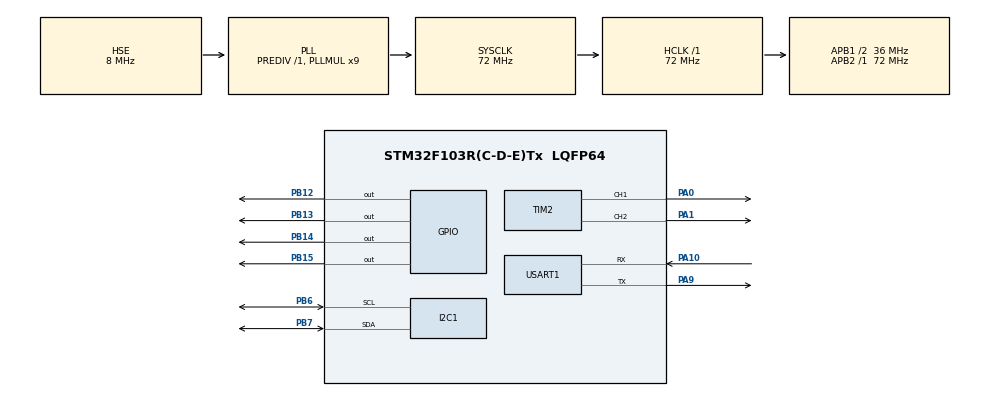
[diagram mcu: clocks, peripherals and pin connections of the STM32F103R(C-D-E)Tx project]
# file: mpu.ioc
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Mcu.Family=STM32F1
Mcu.Name=STM32F103R(C-D-E)Tx
Mcu.Package=LQFP64
NVIC.PriorityGroup=NVIC_PRIORITYGROUP_4
PA0-WKUP.Signal=S_TIM2_CH1_ETR
PA1.Signal=S_TIM2_CH2
PA10.Mode=Asynchronous
PA10.Signal=USART1_RX
PA13.Mode=Serial_Wire
PA13.Signal=SYS_JTMS-SWDIO
PA14.Mode=Serial_Wire
PA14.Signal=SYS_JTCK-SWCLK
PA9.Mode=Asynchronous
PA9.Signal=USART1_TX
PB12.Signal=GPIO_Output
PB13.Signal=GPIO_Output
PB14.Signal=GPIO_Output
PB15.Signal=GPIO_Output
PB6.Mode=I2C
PB6.Signal=I2C1_SCL
PB7.Mode=I2C
PB7.Signal=I2C1_SDA
PD0-OSC_IN.Mode=HSE-External-Oscillator
PD0-OSC_IN.Signal=RCC_OSC_IN
PD1-OSC_OUT.Mode=HSE-External-Oscillator
PD1-OSC_OUT.Signal=RCC_OSC_OUT
ProjectManager.HeapSize=0x200
ProjectManager.StackSize=0x400
ProjectManager.TargetToolchain=STM32CubeIDE
RCC.ADCPresc=RCC_ADCPCLK2_DIV6
RCC.AHBFreq_Value=72000000
RCC.APB1CLKDivider=RCC_HCLK_DIV2
RCC.APB1Freq_Value=36000000
RCC.APB1TimFreq_Value=72000000
RCC.APB2Freq_Value=72000000
RCC.APB2TimFreq_Value=72000000
RCC.HCLKFreq_Value=72000000
RCC.PLLMUL=RCC_PLL_MUL9
RCC.PLLSourceVirtual=RCC_PLLSOURCE_HSE
RCC.SYSCLKFreq_VALUE=72000000
RCC.SYSCLKSource=RCC_SYSCLKSOURCE_PLLCLK
RCC.USBFreq_Value=72000000
SH.S_TIM2_CH1_ETR.0=TIM2_CH1,PWM Generation1 CH1
SH.S_TIM2_CH2.0=TIM2_CH2,PWM Generation2 CH2
TIM2.Channel-PWM\ Generation1\ CH1=TIM_CHANNEL_1
TIM2.Channel-PWM\ Generation2\ CH2=TIM_CHANNEL_2
USART1.VirtualMode=VM_ASYNC
board=custom

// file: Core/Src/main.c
/* USER CODE BEGIN Header */
/**
  ******************************************************************************
  * @file           : main.c
  * @brief          : Main program body
  ******************************************************************************
  * @attention
  *
  * Copyright (c) 2025 STMicroelectronics.
  * All rights reserved.
  *
  * This software is licensed under terms that can be found in the LICENSE file
  * in the root directory of this software component.
  * If no LICENSE file comes with this software, it is provided AS-IS.
  *
  ******************************************************************************
  */
/* USER CODE END Header */
#include "main.h"

I2C_HandleTypeDef hi2c1;

TIM_HandleTypeDef htim2;

UART_HandleTypeDef huart1;

/* USER CODE BEGIN PV */

//TẠO BIẾN ĐỂ LƯU GIÁ TRỊ THÔ 16 BIT
int16_t Accel_X_RAW, Accel_Y_RAW,Accel_Z_RAW;
int16_t Gyro_X_RAW, Gyro_Y_RAW,Gyro_Z_RAW;

//tạo biến lưu cứng giá trị sai số
float Accel_X_Offset = 0.0;
float Accel_Y_Offset = 0.0;
     //float Accel_Z_Offset = 0.0;
float Gyro_X_Offset = 0.0;
float Gyro_Y_Offset = 0.0;
float Gyro_Z_Offset = 0.0;

//tạo biến cho bộ lọc bù
float Accel_Pitch_Angle;
float Gyro_Pitch_Angle;
float Pitch_Angle = 0.0;

//biến thời gian
uint32_t last_time =0;
float dt = 0.0; // khoảng thời gian giữa 2 lần tính toán

// Hằng số bộ lọc
const float alpha = 0.98; // tin 98% vào GYRO
const float rad_to_deg = 180 / 3.14159265; // biến đổi rad sang độ

//biến cho PID
float kp = 110.0;
float ki = 0;
float kd = 12;

float Error, Last_Error = 0.0;
float P_Term, I_Term = 0.0 , D_Term;
float PID_speed;
float Setpoint = 0.00;
const float DEAD_ZONE_ANGLE = 45.0;
/* USER CODE END PV */

void SystemClock_Config(void);
static void MX_GPIO_Init(void);
static void MX_I2C1_Init(void);
static void MX_USART1_UART_Init(void);
static void MX_TIM2_Init(void);

/* USER CODE BEGIN 0 */
#include "stdio.h"
#include "math.h"
#include "stdlib.h"
#define MPU6050_ADDR (0x68 << 1) // 0xD0

// Địa chỉ các thanh ghi

#define WHO_AM_I_REG 0x75
#define PWR_MGMT_1_REG 0x6B
#define SMPLRT_DIV_REG 0x19
#define CONFIG_REG 0x1A
#define GYRO_CONFIG_REG 0x1B
#define ACCEL_CONFIG_REG 0x1C
#define ACCEL_XOUT_H_REG 0x3B

// hàm in dữ liệu qua UART
int _write(int file, char *ptr, int len)
{
	HAL_UART_Transmit(&huart1, (uint8_t*)ptr,len, HAL_MAX_DELAY);
	return len;
}

void MPU6050_Init(void)
{
    uint8_t check;
    uint8_t data;

    // 1. Kiểm tra kết nối
    if (HAL_I2C_Mem_Read(&hi2c1, MPU6050_ADDR, WHO_AM_I_REG, 1, &check, 1, 1000) == HAL_OK)
    {
    		printf("chip ID = 0x%X\r\n",check);
    }else{
    	printf("I2C ERROR!\r\n");

    }

    // 2. Đánh thức và chọn Clock Gyro (RẤT QUAN TRỌNG)
    data = 0x01; // 0b00000001 -> CLKSEL = 1 (PLL với Gyro X)
    HAL_I2C_Mem_Write(&hi2c1, MPU6050_ADDR, PWR_MGMT_1_REG, 1, &data, 1, 1000);

    // 3. Cấu hình Sample Rate (Tốc độ lấy mẫu)
    // Sample Rate = Gyro Output Rate / (1 + SMPLRT_DIV)
    // 1kHz / (1 + 7) = 125Hz
    data = 0x07;
    HAL_I2C_Mem_Write(&hi2c1, MPU6050_ADDR, SMPLRT_DIV_REG, 1, &data, 1, 1000);

    // 4. Cấu hình Bộ lọc thông thấp (DLPF)
    // Đặt DLPF_CFG = 3 -> Accel ~44Hz, Gyro ~42Hz. Giúp lọc nhiễu.
    data = 0x03;
    HAL_I2C_Mem_Write(&hi2c1, MPU6050_ADDR, CONFIG_REG, 1, &data, 1, 1000);

    // 5. Cấu hình dải đo Gyro (+/- 250 dps)
    data = 0x00;
    HAL_I2C_Mem_Write(&hi2c1, MPU6050_ADDR, GYRO_CONFIG_REG, 1, &data, 1, 1000);

    // 6. Cấu hình dải đo Accel (+/- 2g)
    data = 0x00;
    HAL_I2C_Mem_Write(&hi2c1, MPU6050_ADDR, ACCEL_CONFIG_REG, 1, &data, 1, 1000);

    printf("MPU6050 Configured!\r\n");
}

void MPU6050_Read_Data_Raw(void){

	uint8_t Rec_Data[14];
	// Đọc 14 byte
	HAL_I2C_Mem_Read(&hi2c1, MPU6050_ADDR,0x3B, 1,Rec_Data,14,1000);

	// ráp 2 gói tin 8 bit thành 16 bit
	    Accel_X_RAW = (int16_t)(Rec_Data[0] << 8 | Rec_Data[1]);
	    Accel_Y_RAW = (int16_t)(Rec_Data[2] << 8 | Rec_Data[3]);
	    Accel_Z_RAW = (int16_t)(Rec_Data[4] << 8 | Rec_Data[5]);
	    // Bỏ qua 2 byte nhiệt độ (Rec_Data[6] và Rec_Data[7])
	    Gyro_X_RAW  = (int16_t)(Rec_Data[8]  << 8 | Rec_Data[9]);
	    Gyro_Y_RAW  = (int16_t)(Rec_Data[10] << 8 | Rec_Data[11]);
	    Gyro_Z_RAW  = (int16_t)(Rec_Data[12] << 8 | Rec_Data[13]);

	//hiệu chỉnh trừ sai số

}

void MPU6050_Calibrate(void){

	printf("bắt đầu calibrate, vui lòng giữ yên!\r\n");
	HAL_Delay(100);
	// Khỏ tạo biến chứa dữ liệu tính tổng
	int32_t Accel_X_Sum = 0;
	int32_t Accel_Y_Sum = 0;

	int32_t Gyro_X_Sum = 0;
	int32_t Gyro_Y_Sum = 0;
	int32_t Gyro_Z_Sum = 0;

	int num_samples = 1000;

	for(int i = 0; i < num_samples; i++){

		//đọc hàm Read_Data_Raw
		MPU6050_Read_Data_Raw();

		Accel_X_Sum += Accel_X_RAW;
		Accel_Y_Sum += Accel_Y_RAW;

		Gyro_X_Sum += Gyro_X_RAW;
		Gyro_Y_Sum += Gyro_Y_RAW;
		Gyro_Z_Sum += Gyro_Z_RAW;

		HAL_Delay(3); //chờ 3ms giữa các lần đọc tổng 3s

	}

	// tính trung bình ra tỉ lệ sai số offset và lưu vào biến toàn cục FLOAT
	Accel_X_Offset = (float) Accel_X_Sum / (float) num_samples;
	Accel_Y_Offset = (float) Accel_Y_Sum / (float) num_samples;

	Gyro_X_Offset = (float) Gyro_X_Sum /(float) num_samples;
	Gyro_Y_Offset = (float) Gyro_Y_Sum /(float) num_samples;
	Gyro_Z_Offset = (float) Gyro_Z_Sum /(float) num_samples;

	printf("đã hiệu chỉnh xong\r\n");
}

void MPU6050_Read_Data(void){

	MPU6050_Read_Data_Raw();
	        //hiệu chỉnh trừ sai số
	        Accel_X_RAW =Accel_X_RAW - Accel_X_Offset;
		    Accel_Y_RAW =Accel_Y_RAW - Accel_Y_Offset;
		    //Accel_Z_RAW =Accel_X_RAW - Accel_X_Offset;  KO CẦN DO DẪ SÁT THÔNG SỐ YÊU CÂU 1g
		    Gyro_X_RAW = Gyro_X_RAW - Gyro_X_Offset;
		    Gyro_Y_RAW = Gyro_Y_RAW - Gyro_Y_Offset;
		    Gyro_Z_RAW = Gyro_Z_RAW - Gyro_Z_Offset;
	}

void Motor_control(int speed_A, int speed_B){
	// Động cơ A
	if( speed_A > 0){
		HAL_GPIO_WritePin(GPIOB, GPIO_PIN_12, GPIO_PIN_SET);
		HAL_GPIO_WritePin(GPIOB, GPIO_PIN_13, GPIO_PIN_RESET);
	}else if(speed_A < 0 ){
		HAL_GPIO_WritePin(GPIOB, GPIO_PIN_12, GPIO_PIN_RESET);
		HAL_GPIO_WritePin(GPIOB, GPIO_PIN_13, GPIO_PIN_SET);
	}else{
		HAL_GPIO_WritePin(GPIOB, GPIO_PIN_12, GPIO_PIN_RESET);
	    HAL_GPIO_WritePin(GPIOB, GPIO_PIN_13, GPIO_PIN_RESET);
	}

	// Dùng hàm macro vì cần set compare nhanh nhất có thể
	__HAL_TIM_SET_COMPARE(&htim2, TIM_CHANNEL_1, abs(speed_A));

	// Động cơ B
	if( speed_B > 0){
			HAL_GPIO_WritePin(GPIOB, GPIO_PIN_14, GPIO_PIN_RESET);
			HAL_GPIO_WritePin(GPIOB, GPIO_PIN_15, GPIO_PIN_SET);
		}else if(speed_B < 0 ){
			HAL_GPIO_WritePin(GPIOB, GPIO_PIN_14, GPIO_PIN_SET);
			HAL_GPIO_WritePin(GPIOB, GPIO_PIN_15, GPIO_PIN_RESET);
		}else{
			HAL_GPIO_WritePin(GPIOB, GPIO_PIN_14, GPIO_PIN_RESET);
		    HAL_GPIO_WritePin(GPIOB, GPIO_PIN_15, GPIO_PIN_RESET);
		}

		__HAL_TIM_SET_COMPARE(&htim2, TIM_CHANNEL_2, abs(speed_B));

}

/* USER CODE END 0 */

int main(void)
{

  /* MCU Configuration--------------------------------------------------------*/

  /* Reset of all peripherals, Initializes the Flash interface and the Systick. */
  HAL_Init();

  /* Configure the system clock */
  SystemClock_Config();

  /* Initialize all configured peripherals */
  MX_GPIO_Init();
  MX_I2C1_Init();
  MX_USART1_UART_Init();
  MX_TIM2_Init();
  /* USER CODE BEGIN 2 */

  // BẬT KÊNH PWM 1 VÀ 2 TRÊN L298N
  HAL_TIM_PWM_Start(&htim2, TIM_CHANNEL_1);
  HAL_TIM_PWM_Start(&htim2, TIM_CHANNEL_2);

  MPU6050_Init();
  MPU6050_Calibrate();
  last_time = HAL_GetTick(); // khởi tạo mốc thời gian

  /* USER CODE END 2 */

  /* Infinite loop */
  while (1)
  {

    /* USER CODE BEGIN 3 */

    MPU6050_Read_Data();
    //printf("Gyro Z (RAW) = %d\r\n",Gyro_Z_RAW);
    //printf("Gyro X (RAW) = %d\r\n",Gyro_X_RAW);
    //printf("Gyro Y (RAW) = %d\r\n",Gyro_Y_RAW);
    //printf("Accel Z (RAW) = %d\r\n",Accel_Z_RAW);
    //printf("Accel X (RAW) = %d\r\n",Accel_X_RAW);
    //printf("Accel Y (RAW) = %d\r\n",Accel_Y_RAW);

    // ----tính khoảng thời gian dt---
    uint32_t curent_time = HAL_GetTick();
    dt = (float) ( curent_time - last_time) / 1000.0;
    last_time = curent_time;
    if (dt < 0.005) dt = 0.005;

    //tính góc Accel
    Accel_Pitch_Angle = atan2(Accel_X_RAW,Accel_Z_RAW) * rad_to_deg;

    //tính góc Gyro
    float Gyro_Y_Rate = Gyro_Y_RAW / 131.0;
    Gyro_Pitch_Angle = Pitch_Angle + (Gyro_Y_Rate * dt);

    //tính BỘ LỌC BÙ
    Pitch_Angle =  alpha * Gyro_Pitch_Angle + (1.0 - alpha)* Accel_Pitch_Angle;

    // VÙNG CHẾT - Robot không tự cứu khi nghiêng quá 45°
    if (fabs(Pitch_Angle) > DEAD_ZONE_ANGLE) {
        Motor_control(0, 0);
        I_Term = 0;  // Reset tích phân
        Last_Error = 0;
        printf("Angle: %.2f\r\n", Pitch_Angle);
        HAL_Delay(10);
        continue;
    }

    // tính toán P i D
   Error = Pitch_Angle - Setpoint;

   P_Term = kp * Error;

   I_Term = I_Term +(ki* Error * dt);

   D_Term = kd * (Error - Last_Error) /dt;

   PID_speed = P_Term + I_Term + D_Term;

   Last_Error = Error;

   // BÙ MA SÁT THÔNG MINH (Chỉ kích hoạt nếu lệnh đủ lớn)
       float min_speed = 660.0;
       float dead_band_filter = 10.0; // <-- Đặt ngưỡng an toàn (ví dụ: 20)

       if (fabs(PID_speed) < dead_band_filter) // Nếu PID quá nhỏ (nhỏ hơn 20)
       {
           PID_speed = 0; // COI NHƯ LỖI NHIỄU, TẮT motor
       }
       else
       {
           // Nếu PID đủ lớn để chống lại nhiễu, thì mới Bù Ma Sát
           if (PID_speed > 0) PID_speed += min_speed;
           else if (PID_speed < 0) PID_speed -= min_speed;
       }

        // Sau khi bù ma sát, thêm:
        if (PID_speed > 999) PID_speed = 999;
        if (PID_speed < -999) PID_speed = -999;

        // SET cứng I_TERM chống tràn
        if (I_Term > 1000) I_Term = 1000;
        if (I_Term < -1000) I_Term = -1000;

        // SET cứng I_TERM chống tràn
        if (D_Term > 999) D_Term = 999;
        if (D_Term <  -999) D_Term = -999;

   Motor_control(-(int)PID_speed, -(int)PID_speed);

       //in kết quả
       static uint32_t last_print_time = 0;
           if (curent_time - last_print_time >= 100) // In 10 lần/giây
           {
        	   // In ra Kp, Kd bạn đang "vặn"
        	   printf("Ang:%.1f Er:%.1f P:%d I:%d D:%d PWM:%d\r\n",Pitch_Angle, Error, (int)P_Term, (int)I_Term, (int)D_Term, (int)PID_speed);
               last_print_time = curent_time;
           }
           HAL_Delay(10);
/*
 // Test MOTOR
    Motor_control(600,600);
    HAL_Delay(2000);
    Motor_control(0,0);
    HAL_Delay(1000);
*/

  }
  /* USER CODE END 3 */
}

void SystemClock_Config(void)
{
  RCC_OscInitTypeDef RCC_OscInitStruct = {0};
  RCC_ClkInitTypeDef RCC_ClkInitStruct = {0};

  /** Initializes the RCC Oscillators according to the specified parameters
  * in the RCC_OscInitTypeDef structure.
  */
  RCC_OscInitStruct.OscillatorType = RCC_OSCILLATORTYPE_HSE;
  RCC_OscInitStruct.HSEState = RCC_HSE_ON;
  RCC_OscInitStruct.HSEPredivValue = RCC_HSE_PREDIV_DIV1;
  RCC_OscInitStruct.HSIState = RCC_HSI_ON;
  RCC_OscInitStruct.PLL.PLLState = RCC_PLL_ON;
  RCC_OscInitStruct.PLL.PLLSource = RCC_PLLSOURCE_HSE;
  RCC_OscInitStruct.PLL.PLLMUL = RCC_PLL_MUL9;
  if (HAL_RCC_OscConfig(&RCC_OscInitStruct) != HAL_OK)
  {
    Error_Handler();
  }

  /** Initializes the CPU, AHB and APB buses clocks
  */
  RCC_ClkInitStruct.ClockType = RCC_CLOCKTYPE_HCLK|RCC_CLOCKTYPE_SYSCLK
                              |RCC_CLOCKTYPE_PCLK1|RCC_CLOCKTYPE_PCLK2;
  RCC_ClkInitStruct.SYSCLKSource = RCC_SYSCLKSOURCE_PLLCLK;
  RCC_ClkInitStruct.AHBCLKDivider = RCC_SYSCLK_DIV1;
  RCC_ClkInitStruct.APB1CLKDivider = RCC_HCLK_DIV2;
  RCC_ClkInitStruct.APB2CLKDivider = RCC_HCLK_DIV1;

  if (HAL_RCC_ClockConfig(&RCC_ClkInitStruct, FLASH_LATENCY_2) != HAL_OK)
  {
    Error_Handler();
  }
}

static void MX_I2C1_Init(void)
{

  hi2c1.Instance = I2C1;
  hi2c1.Init.ClockSpeed = 100000;
  hi2c1.Init.DutyCycle = I2C_DUTYCYCLE_2;
  hi2c1.Init.OwnAddress1 = 0;
  hi2c1.Init.AddressingMode = I2C_ADDRESSINGMODE_7BIT;
  hi2c1.Init.DualAddressMode = I2C_DUALADDRESS_DISABLE;
  hi2c1.Init.OwnAddress2 = 0;
  hi2c1.Init.GeneralCallMode = I2C_GENERALCALL_DISABLE;
  hi2c1.Init.NoStretchMode = I2C_NOSTRETCH_DISABLE;
  if (HAL_I2C_Init(&hi2c1) != HAL_OK)
  {
    Error_Handler();
  }

}

static void MX_TIM2_Init(void)
{

  TIM_MasterConfigTypeDef sMasterConfig = {0};
  TIM_OC_InitTypeDef sConfigOC = {0};

  htim2.Instance = TIM2;
  htim2.Init.Prescaler = 0;
  htim2.Init.CounterMode = TIM_COUNTERMODE_UP;
  htim2.Init.Period = 999;
  htim2.Init.ClockDivision = TIM_CLOCKDIVISION_DIV1;
  htim2.Init.AutoReloadPreload = TIM_AUTORELOAD_PRELOAD_DISABLE;
  if (HAL_TIM_PWM_Init(&htim2) != HAL_OK)
  {
    Error_Handler();
  }
  sMasterConfig.MasterOutputTrigger = TIM_TRGO_RESET;
  sMasterConfig.MasterSlaveMode = TIM_MASTERSLAVEMODE_DISABLE;
  if (HAL_TIMEx_MasterConfigSynchronization(&htim2, &sMasterConfig) != HAL_OK)
  {
    Error_Handler();
  }
  sConfigOC.OCMode = TIM_OCMODE_PWM1;
  sConfigOC.Pulse = 0;
  sConfigOC.OCPolarity = TIM_OCPOLARITY_HIGH;
  sConfigOC.OCFastMode = TIM_OCFAST_DISABLE;
  if (HAL_TIM_PWM_ConfigChannel(&htim2, &sConfigOC, TIM_CHANNEL_1) != HAL_OK)
  {
    Error_Handler();
  }
  if (HAL_TIM_PWM_ConfigChannel(&htim2, &sConfigOC, TIM_CHANNEL_2) != HAL_OK)
  {
    Error_Handler();
  }
  HAL_TIM_MspPostInit(&htim2);

}

static void MX_USART1_UART_Init(void)
{

  huart1.Instance = USART1;
  huart1.Init.BaudRate = 115200;
  huart1.Init.WordLength = UART_WORDLENGTH_8B;
  huart1.Init.StopBits = UART_STOPBITS_1;
  huart1.Init.Parity = UART_PARITY_NONE;
  huart1.Init.Mode = UART_MODE_TX_RX;
  huart1.Init.HwFlowCtl = UART_HWCONTROL_NONE;
  huart1.Init.OverSampling = UART_OVERSAMPLING_16;
  if (HAL_UART_Init(&huart1) != HAL_OK)
  {
    Error_Handler();
  }

}

static void MX_GPIO_Init(void)
{
  GPIO_InitTypeDef GPIO_InitStruct = {0};

  /* GPIO Ports Clock Enable */
  __HAL_RCC_GPIOD_CLK_ENABLE();
  __HAL_RCC_GPIOA_CLK_ENABLE();
  __HAL_RCC_GPIOB_CLK_ENABLE();

  /*Configure GPIO pin Output Level */
  HAL_GPIO_WritePin(GPIOB, GPIO_PIN_12|GPIO_PIN_13|GPIO_PIN_14|GPIO_PIN_15, GPIO_PIN_RESET);

  /*Configure GPIO pins : PB12 PB13 PB14 PB15 */
  GPIO_InitStruct.Pin = GPIO_PIN_12|GPIO_PIN_13|GPIO_PIN_14|GPIO_PIN_15;
  GPIO_InitStruct.Mode = GPIO_MODE_OUTPUT_PP;
  GPIO_InitStruct.Pull = GPIO_NOPULL;
  GPIO_InitStruct.Speed = GPIO_SPEED_FREQ_LOW;
  HAL_GPIO_Init(GPIOB, &GPIO_InitStruct);

}

void Error_Handler(void)
{
  __disable_irq();
  while (1)
  {
  }
}
